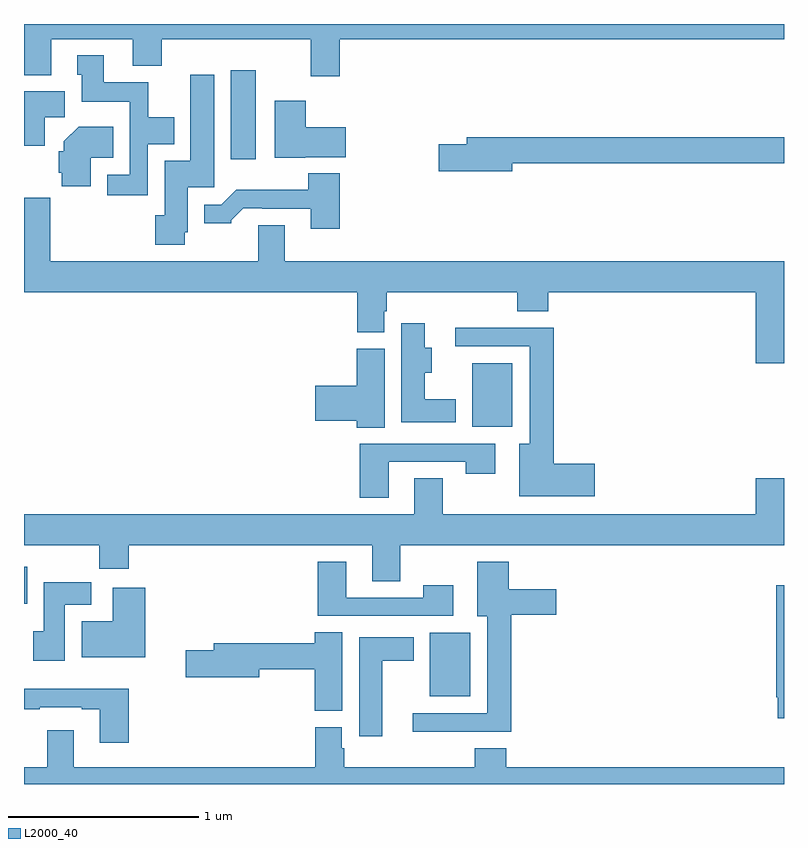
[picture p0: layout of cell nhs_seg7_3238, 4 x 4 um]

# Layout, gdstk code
import gdstk
lib = gdstk.Library(unit=1e-6, precision=1e-09)
def R(c, l, rs):  # rectangles x0, y0, x1, y1
    for r in rs: c.add(gdstk.rectangle(r[:2], r[2:], *l))
def P(c, l, *ps):  # polygons
    for p in ps: c.add(gdstk.Polygon(p, *l))
L2000_40 = (2000, 40)

nhs_seg7_3238 = lib.new_cell('nhs_seg7_3238')
R(nhs_seg7_3238, L2000_40, [(319.136,1026.461,319.348,1026.796), (317,1026.95,317.017,1027.144), (319.358,1027.88,319.57,1028.215), (318.089,1029.288,318.22,1029.757)])
P(nhs_seg7_3238, L2000_40, [(318.662,1029.92),(321,1029.92),(321,1030),(317,1030),(317,1029.731),(317.143,1029.731),(317.143,1029.92),(317.573,1029.92),(317.573,1029.779),(317.726,1029.779),(317.726,1029.92),(318.509,1029.92),(318.509,1029.726),(318.662,1029.726)],
  [(317.652,1029.368),(317.791,1029.368),(317.791,1029.508),(317.655,1029.508),(317.655,1029.694),(317.419,1029.694),(317.419,1029.835),(317.279,1029.835),(317.279,1029.732),(317.303,1029.732),(317.303,1029.59),(317.556,1029.59),(317.556,1029.207),(317.439,1029.207),(317.439,1029.099),(317.652,1029.099)],
  [(317.847,1028.904),(317.863,1028.904),(317.863,1029.141),(318.001,1029.141),(318.001,1029.733),(317.876,1029.733),(317.876,1029.28),(317.741,1029.28),(317.741,1028.994),(317.69,1028.994),(317.69,1028.838),(317.847,1028.838)],
  [(317.108,1029.508),(317.215,1029.508),(317.215,1029.646),(317,1029.646),(317,1029.36),(317.108,1029.36)],
  [(318.48,1029.299),(318.694,1029.299),(318.694,1029.457),(318.484,1029.457),(318.484,1029.595),(318.32,1029.595),(318.32,1029.296),(318.48,1029.296)],
  [(317.35,1029.296),(317.471,1029.296),(317.471,1029.46),(317.288,1029.46),(317.21,1029.382),(317.21,1029.33),(317.183,1029.33),(317.183,1029.216),(317.198,1029.216),(317.198,1029.146),(317.35,1029.146)],
  [(319.57,1029.268),(321,1029.268),(321,1029.404),(319.331,1029.404),(319.331,1029.368),(319.182,1029.368),(319.182,1029.226),(319.57,1029.226)],
  [(318.662,1029.214),(318.497,1029.214),(318.497,1029.127),(318.118,1029.127),(318.039,1029.048),(317.948,1029.048),(317.948,1028.951),(318.09,1028.951),(318.09,1028.966),(318.154,1029.03),(318.253,1029.03),(318.253,1029.027),(318.509,1029.027),(318.509,1028.922),(318.662,1028.922)],
  [(321,1028.752),(318.373,1028.752),(318.373,1028.942),(318.233,1028.942),(318.233,1028.752),(317.138,1028.752),(317.138,1029.085),(317.002,1029.085),(317.002,1028.752),(317,1028.752),(317,1028.588),(318.755,1028.588),(318.755,1028.377),(318.895,1028.377),(318.895,1028.487),(318.908,1028.487),(318.908,1028.588),(319.595,1028.588),(319.595,1028.489),(319.76,1028.489),(319.76,1028.588),(320.852,1028.588),(320.852,1028.214),(321,1028.214)],
  [(319.273,1028.026),(319.108,1028.026),(319.108,1028.165),(319.147,1028.165),(319.147,1028.295),(319.108,1028.295),(319.108,1028.425),(318.986,1028.425),(318.986,1027.904),(319.273,1027.904)],
  [(320.005,1027.685),(319.787,1027.685),(319.787,1028.402),(319.269,1028.402),(319.269,1028.304),(319.661,1028.304),(319.661,1027.792),(319.607,1027.792),(319.607,1027.514),(320.005,1027.514)],
  [(318.898,1028.292),(318.752,1028.292),(318.752,1028.096),(318.534,1028.096),(318.534,1027.913),(318.752,1027.913),(318.752,1027.876),(318.898,1027.876)],
  [(318.919,1027.695),(319.324,1027.695),(319.324,1027.632),(319.48,1027.632),(319.48,1027.791),(318.767,1027.791),(318.767,1027.506),(318.919,1027.506)],
  [(318.981,1027.256),(321,1027.256),(321,1027.609),(320.852,1027.609),(320.852,1027.42),(319.203,1027.42),(319.203,1027.61),(319.055,1027.61),(319.055,1027.42),(317,1027.42),(317,1027.256),(317.395,1027.256),(317.395,1027.132),(317.552,1027.132),(317.552,1027.256),(318.833,1027.256),(318.833,1027.066),(318.981,1027.066)],
  [(319.565,1026.89),(319.801,1026.89),(319.801,1027.024),(319.552,1027.024),(319.552,1027.171),(319.385,1027.171),(319.385,1026.884),(319.439,1026.884),(319.439,1026.372),(319.047,1026.372),(319.047,1026.275),(319.565,1026.275)],
  [(319.258,1027.045),(319.102,1027.045),(319.102,1026.981),(318.697,1026.981),(318.697,1027.171),(318.545,1027.171),(318.545,1026.885),(319.258,1026.885)],
  [(317.215,1026.944),(317.354,1026.944),(317.354,1027.062),(317.105,1027.062),(317.105,1026.804),(317.048,1026.804),(317.048,1026.648),(317.215,1026.648)],
  [(321,1027.045),(320.959,1027.045),(320.959,1026.457),(320.967,1026.457),(320.967,1026.345),(321,1026.345)],
  [(317.639,1027.033),(317.468,1027.033),(317.468,1026.856),(317.303,1026.856),(317.303,1026.668),(317.639,1026.668)],
  [(318.676,1026.8),(318.53,1026.8),(318.53,1026.74),(317.999,1026.74),(317.999,1026.704),(317.85,1026.704),(317.85,1026.562),(318.238,1026.562),(318.238,1026.604),(318.53,1026.604),(318.53,1026.385),(318.676,1026.385)],
  [(318.886,1026.65),(319.051,1026.65),(319.051,1026.772),(318.764,1026.772),(318.764,1026.252),(318.886,1026.252)],
  [(317.552,1026.502),(317,1026.502),(317,1026.393),(317.083,1026.393),(317.083,1026.405),(317.303,1026.405),(317.303,1026.393),(317.399,1026.393),(317.399,1026.216),(317.552,1026.216)],
  [(321,1026.088),(319.538,1026.088),(319.538,1026.187),(319.373,1026.187),(319.373,1026.088),(318.686,1026.088),(318.686,1026.189),(318.673,1026.189),(318.673,1026.3),(318.533,1026.3),(318.533,1026.088),(317.263,1026.088),(317.263,1026.283),(317.123,1026.283),(317.123,1026.088),(317,1026.088),(317,1026),(321,1026)])

lib.write_gds('nhs_seg7_3238.gds')
